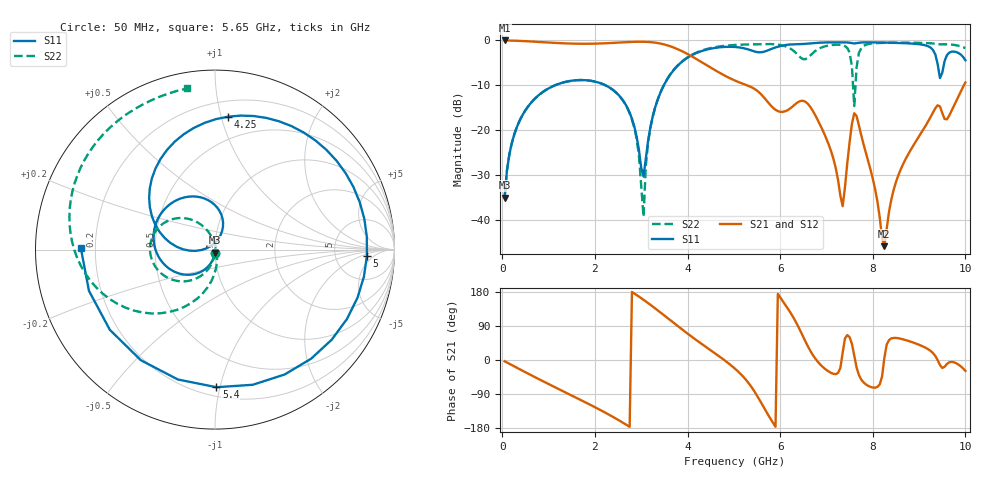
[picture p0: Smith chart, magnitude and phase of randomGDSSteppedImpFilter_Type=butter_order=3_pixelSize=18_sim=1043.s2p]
! freq	dB(S11)	phase(S11)	dB(S12)	phase(S12)
!  dB(S21)	phase(S21)	dB(S22)	phase(S22)
!S-par simulation data
#  GHz  S  DB  R 50
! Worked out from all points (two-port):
!   200 points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, 50 MHz to 10 GHz, reference 50 ohm
!   highest |S21| = -0.01 dB at 50 MHz (marker M1); lowest = -45.8 dB at 8.25 GHz (marker M2)
!   |S21| within 3 dB of the highest: start of sweep to 3.997 GHz
!   lowest |S11| = -35.0 dB at 50 MHz (marker M3), VSWR 1.04, Z = 49.9 - j1.77 ohm
!   |S11| at or under -10 dB: start of sweep to 1.138 GHz; 2.228 GHz to 3.489 GHz (1.261 GHz wide, 44.1 % of centre)
!   |S22| runs from -39.3 to -0.5 dB; largest |S21 - S12| = 0
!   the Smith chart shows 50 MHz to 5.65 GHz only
!   S11 on the Smith chart (normalised r, x): 50 MHz: 1.00, -0.04; 4.25 GHz: 0.32, +1.05; 5 GHz: 11, -3; 5.4 GHz: 0.26, -0.98; 5.65 GHz: 0.14, +0.01
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0.05  -35.02 -93.3  -0.01 -3.3  -0.01 -3.3  -35.01 -92.4
0.5  -15.56 -127.2  -0.17 -32.3  -0.17 -32.3  -15.55 -118.4
1.75  -8.84 144.9  -0.75 -108.9  -0.75 -108.9  -8.83 176.5
2.75  -16.09 73.3  -0.35 -176.5  -0.35 -176.5  -16.23 118.4
3.05  -30.32 136.9  -0.30 158.8  -0.30 158.8  -39.28 -32.4
3.15  -22.24 -178.0  -0.34 150.0  -0.34 150.0  -22.72 -81.7
3.4  -11.99 171.5  -0.67 126.9  -0.67 126.9  -11.97 -105.5
4.25  -2.56 84.3  -4.50 47.2  -4.50 47.2  -2.47 -173.0
5  -1.44 -2.5  -8.84 -20.3  -8.84 -20.3  -1.02 140.0
5.05  -1.48 -10.3  -9.06 -25.6  -9.06 -25.6  -0.99 137.1
5.4  -2.31 -89.4  -10.53 -74.7  -10.53 -74.7  -0.89 116.4
5.65  -2.52 179.2  -12.71 -125.7  -12.71 -125.7  -0.81 99.8
5.9  -1.55 104.3  -15.46 -176.2  -15.46 -176.2  -0.87 77.8
6.3  -0.89 42.5  -14.44 109.0  -14.44 109.0  -2.41 8.4
6.5  -0.79 24.9  -13.46 60.6  -13.46 60.6  -4.19 -75.9
6.7  -0.62 10.1  -15.61 14.3  -15.61 14.3  -2.86 -166.5
7.35  -0.43 -28.9  -36.94 19.1  -36.94 19.1  -1.08 87.8
7.55  -0.61 -39.0  -18.59 42.5  -18.59 42.5  -5.82 48.0
7.65  -0.60 -42.0  -16.84 -19.4  -16.84 -19.4  -6.07 124.0
8.25  -0.48 -69.5  -45.85 5.2  -45.85 5.2  -0.54 59.4
8.35  -0.50 -74.0  -38.23 52.3  -38.23 52.3  -0.52 54.1
10  -4.41 -172.3  -9.37 -28.7  -9.37 -28.7  -1.72 -18.0
